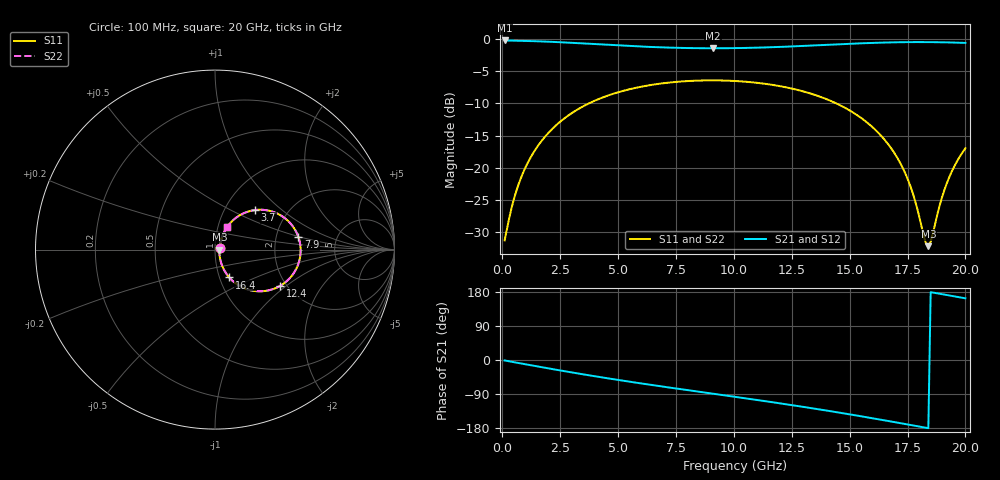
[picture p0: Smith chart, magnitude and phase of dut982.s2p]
! Touchstone file exported from HFSS 2026.1.0
!  File:  C:/ffzhzh/LocalFiles/Ansys_Project_Files/temp_train_TSV_RDL_982_1783287049_39728.aedt
!  Generated:  05:45:20 AM Jul  6, 2026
!  Design:  TSV_RDL
!  Project:  temp_train_TSV_RDL_982_1783287049_39728
! Variables:
!  h_bsmrdl = 3.36um
!  h_ox = 20um
!  h_rdl = 5um
!  h_sub = 77.38um
!  h_tmrdl = 3.6um
!  h_tsv = 77.38um
!  h_via = 3um
!  l_bsmrdl = 332.12um
!  l_sub = 3202.79um
!  l_tmrdl = 417.7um
!  m_sub = 200um
!  pitch = 39.19um
!  r_tsv = 2.12um
!  s_tmrdl = 10um
!  w_bsmrdl = 23.55um
!  w_sub = 500um
!  w_tmrdl = 21.66um
!  x_tsv_center1 = 428.53um
!  x_tsv_center2 = 784.2um
!  x_tsv_center3 = 1223.56um
!  x_tsv_center4 = 1579.23um
!  x_tsv_center5 = 2018.59um
!  x_tsv_center6 = 2374.26um
# GHz S MA R 50.000000
! Terminal data exported
! Port[1] = TM_RDL1_1_T1
! Port[2] = TM_RDL5_1_T1
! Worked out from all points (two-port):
!   200 points, 100 MHz to 20 GHz, reference 50 ohm
!   highest |S21| = -0.22 dB at 100 MHz (marker M1); lowest = -1.4 dB at 9.1 GHz (marker M2)
!   |S21| within 3 dB of the highest: start of sweep to end of sweep
!   lowest |S11| = -32.2 dB at 18.4 GHz (marker M3), VSWR 1.05, Z = 52.5 + j0.0384 ohm
!   |S11| at or under -10 dB: start of sweep to 3.743 GHz; 14.42 GHz to end of sweep
!   |S22| runs from -32.2 to -6.4 dB; largest |S21 - S12| = 1.7e-14
!   S11 on the Smith chart (normalised r, x): 100 MHz: 1.05, +0.02; 3.7 GHz: 1.38, +0.68; 7.9 GHz: 2.68, +0.47; 12.4 GHz: 1.86, -0.91; 16.4 GHz: 1.11, -0.36; 20 GHz: 1.11, +0.28
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0.1  0.02721 22.0  0.9749 -1.2  0.9749 -1.2  0.02721 22.0
! Gamma 0 0 0 0
! Port Impedance 50 0 50 0
0.6  0.0654 58.0  0.9704 -6.8  0.9704 -6.8  0.0654 58.0
1.3  0.1269 62.3  0.9635 -14.6  0.9635 -14.6  0.1269 62.3
2.2  0.2037 57.4  0.95 -24.4  0.95 -24.4  0.2037 57.4
3.5  0.3004 46.4  0.9241 -37.9  0.9241 -37.9  0.3004 46.4
3.7  0.3135 44.7  0.9198 -39.9  0.9198 -39.9  0.3135 44.7
5.2  0.3947 31.3  0.8885 -54.5  0.8885 -54.5  0.3947 31.3
6.8  0.4497 17.6  0.8625 -69.0  0.8625 -69.0  0.4497 17.6
7.9  0.4701 8.4  0.8518 -78.6  0.8518 -78.6  0.4701 8.4
9.1  0.4772 -1.4  0.8476 -89.0  0.8476 -89.0  0.4772 -1.4
10.1  0.4714 -9.6  0.8502 -97.6  0.8502 -97.6  0.4714 -9.6
12.4  0.4161 -28.9  0.8744 -118.1  0.8744 -118.1  0.4161 -28.9
13.4  0.3729 -37.6  0.8907 -127.5  0.8907 -127.5  0.3729 -37.6
15.1  0.272 -52.6  0.9201 -144.4  0.9201 -144.4  0.2719 -52.6
16.4  0.1739 -62.9  0.9381 -158.1  0.9381 -158.1  0.1739 -62.9
16.7  0.1494 -64.7  0.9411 -161.3  0.9411 -161.3  0.1494 -64.7
17.5  0.08226 -65.3  0.9462 -170.0  0.9462 -170.0  0.08225 -65.2
17.8  0.05753 -60.6  0.947 -173.3  0.947 -173.3  0.05753 -60.5
18.3  0.02566 -18.3  0.9468 -178.8  0.9468 -178.8  0.02568 -18.3
18.4  0.02454 0.9  0.9466 -179.9  0.9466 -179.9  0.02457 0.9
19.2  0.07583 60.5  0.9419 171.4  0.9419 171.4  0.07585 60.5
20  0.1416 61.1  0.9331 162.7  0.9331 162.7  0.1416 61.1
